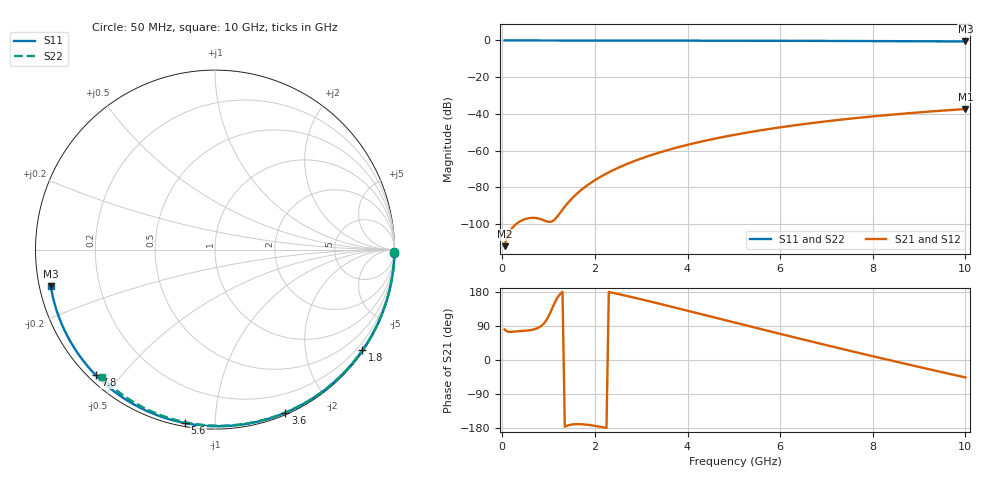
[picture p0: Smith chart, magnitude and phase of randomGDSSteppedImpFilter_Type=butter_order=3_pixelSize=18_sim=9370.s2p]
! freq	dB(S11)	phase(S11)	dB(S12)	phase(S12)
!  dB(S21)	phase(S21)	dB(S22)	phase(S22)
!S-par simulation data
#  GHz  S  DB  R 50
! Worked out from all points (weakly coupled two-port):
!   200 points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, 50 MHz to 10 GHz, reference 50 ohm
!   highest |S21| = -37.31 dB at 10 GHz (marker M1); lowest = -111.9 dB at 50 MHz (marker M2)
!   lowest |S11| = -0.6 dB at 10 GHz (marker M3), VSWR 31.00, Z = 1.63 - j5.48 ohm
!   |S11| at or under -10 dB: nowhere
!   |S22| runs from -0.4 to 0.0 dB; largest |S21 - S12| = 0
!   S11 on the Smith chart (normalised r, x): 50 MHz: open; 1.8 GHz: 0.03, -3.24; 3.6 GHz: 0.02, -1.52; 5.6 GHz: 0.02, -0.84; 7.8 GHz: 0.02, -0.43; 10 GHz: 0.03, -0.11
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0.05  -0.00 -1.0  -111.94 80.5  -111.94 80.5  -0.00 -0.8
0.45  -0.01 -8.7  -97.61 76.7  -97.61 76.7  -0.01 -6.8
0.85  -0.02 -16.4  -97.40 90.8  -97.40 90.8  -0.02 -12.9
1.3  -0.03 -24.9  -92.04 179.9  -92.04 179.9  -0.02 -19.6
1.75  -0.04 -33.4  -80.43 -169.9  -80.43 -169.9  -0.03 -26.2
1.8  -0.04 -34.3  -79.47 -170.4  -79.47 -170.4  -0.03 -27.0
2.1  -0.05 -39.9  -74.50 -175.8  -74.50 -175.8  -0.04 -31.3
2.3  -0.06 -43.5  -71.75 179.5  -71.75 179.5  -0.04 -34.3
2.5  -0.06 -47.2  -69.32 174.3  -69.32 174.3  -0.05 -37.1
2.9  -0.07 -54.4  -65.16 163.1  -65.16 163.1  -0.06 -42.9
3.4  -0.08 -63.2  -60.92 148.3  -60.92 148.3  -0.07 -49.9
3.6  -0.09 -66.7  -59.45 142.2  -59.45 142.2  -0.07 -52.7
4.3  -0.11 -78.6  -55.00 120.8  -55.00 120.8  -0.09 -62.3
5.05  -0.14 -91.0  -51.17 97.9  -51.17 97.9  -0.11 -72.2
5.6  -0.17 -99.8  -48.81 81.1  -48.81 81.1  -0.13 -79.4
6.15  -0.19 -108.4  -46.74 64.5  -46.74 64.5  -0.15 -86.3
6.7  -0.23 -116.9  -44.90 48.0  -44.90 48.0  -0.18 -93.1
7.25  -0.27 -125.3  -43.27 31.8  -43.27 31.8  -0.21 -99.8
7.8  -0.31 -133.6  -41.81 15.7  -41.81 15.7  -0.25 -106.3
8.35  -0.36 -142.0  -40.51 -0.1  -40.51 -0.1  -0.29 -112.7
9.2  -0.46 -154.9  -38.74 -24.0  -38.74 -24.0  -0.36 -122.5
10  -0.56 -167.5  -37.31 -46.0  -37.31 -46.0  -0.44 -131.5
